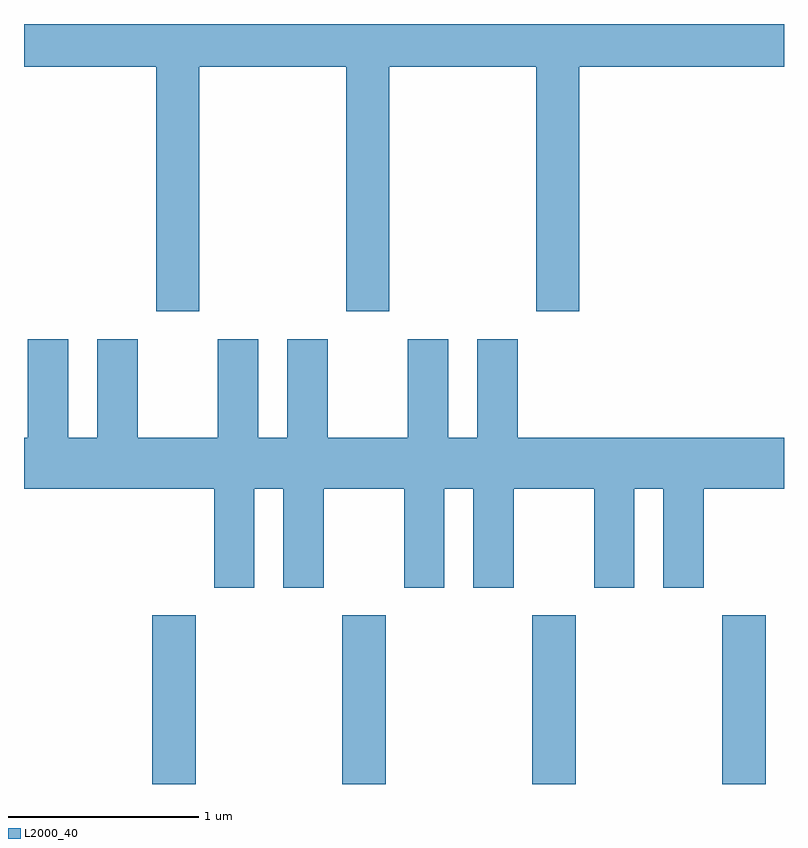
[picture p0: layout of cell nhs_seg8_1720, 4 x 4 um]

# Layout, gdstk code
import gdstk
lib = gdstk.Library(unit=1e-6, precision=1e-09)
def R(c, l, rs):  # rectangles x0, y0, x1, y1
    for r in rs: c.add(gdstk.rectangle(r[:2], r[2:], *l))
def A(c, l, x, y, w, h, nx, ny, dx, dy):  # array of equal rectangles
    R(c, l, [(x+i*dx, y+j*dy, x+i*dx+w, y+j*dy+h) for i in range(nx) for j in range(ny)])
def P(c, l, *ps):  # polygons
    for p in ps: c.add(gdstk.Polygon(p, *l))
L2000_40 = (2000, 40)

nhs_seg8_1720 = lib.new_cell('nhs_seg8_1720')
A(nhs_seg8_1720, L2000_40, 236.286, 1910.342, 0.228, 0.887, 4, 1, 1, 0)
P(nhs_seg8_1720, L2000_40, [(236.534,1914.116),(237.306,1914.116),(237.306,1912.831),(237.534,1912.831),(237.534,1914.116),(238.306,1914.116),(238.306,1912.831),(238.534,1912.831),(238.534,1914.116),(239.611,1914.116),(239.611,1914.342),(235.611,1914.342),(235.611,1914.116),(236.306,1914.116),(236.306,1912.831),(236.534,1912.831)],
  [(236.824,1911.896),(236.976,1911.896),(236.976,1911.376),(237.189,1911.376),(237.189,1911.896),(237.611,1911.896),(237.611,1911.376),(237.824,1911.376),(237.824,1911.896),(237.976,1911.896),(237.976,1911.376),(238.189,1911.376),(238.189,1911.896),(238.611,1911.896),(238.611,1911.376),(238.824,1911.376),(238.824,1911.896),(238.976,1911.896),(238.976,1911.376),(239.189,1911.376),(239.189,1911.896),(239.611,1911.896),(239.611,1912.164),(238.209,1912.164),(238.209,1912.684),(237.996,1912.684),(237.996,1912.164),(237.844,1912.164),(237.844,1912.684),(237.631,1912.684),(237.631,1912.164),(237.209,1912.164),(237.209,1912.684),(236.996,1912.684),(236.996,1912.164),(236.844,1912.164),(236.844,1912.684),(236.631,1912.684),(236.631,1912.164),(236.209,1912.164),(236.209,1912.684),(235.996,1912.684),(235.996,1912.164),(235.844,1912.164),(235.844,1912.684),(235.631,1912.684),(235.631,1912.164),(235.611,1912.164),(235.611,1911.896),(236.611,1911.896),(236.611,1911.376),(236.824,1911.376)])

lib.write_gds('nhs_seg8_1720.gds')
